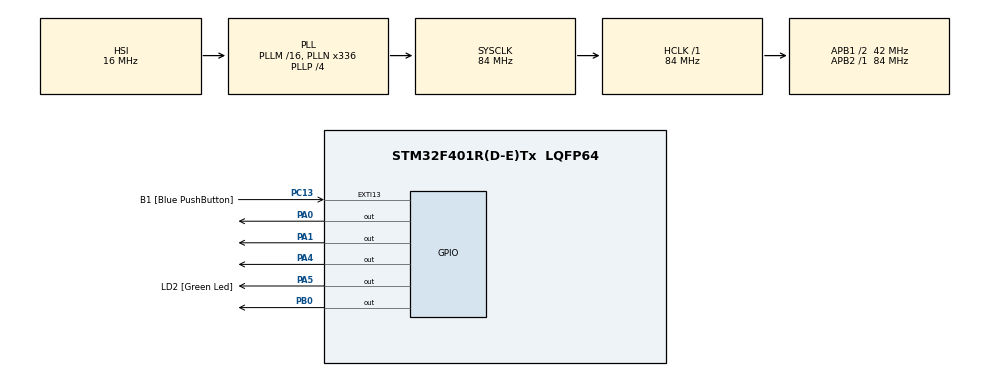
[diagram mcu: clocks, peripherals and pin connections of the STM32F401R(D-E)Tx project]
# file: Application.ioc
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Mcu.Family=STM32F4
Mcu.Name=STM32F401R(D-E)Tx
Mcu.Package=LQFP64
NVIC.EXTI15_10_IRQn=true\:0\:0\:false\:false\:true\:true\:true
NVIC.PriorityGroup=NVIC_PRIORITYGROUP_0
PA0-WKUP.Signal=GPIO_Output
PA1.Signal=GPIO_Output
PA13.GPIO_Label=TMS
PA13.Mode=Serial_Wire
PA13.Signal=SYS_JTMS-SWDIO
PA14.GPIO_Label=TCK
PA14.Mode=Serial_Wire
PA14.Signal=SYS_JTCK-SWCLK
PA4.Signal=GPIO_Output
PA5.GPIO_Label=LD2 [Green Led]
PA5.GPIO_Mode=GPIO_MODE_OUTPUT_PP
PA5.GPIO_PuPd=GPIO_NOPULL
PA5.GPIO_Speed=GPIO_SPEED_FREQ_LOW
PA5.Signal=GPIO_Output
PB0.Signal=GPIO_Output
PB3.GPIO_Label=SWO
PB3.Signal=SYS_JTDO-SWO
PC13-ANTI_TAMP.GPIO_Label=B1 [Blue PushButton]
PC13-ANTI_TAMP.GPIO_ModeDefaultEXTI=GPIO_MODE_IT_FALLING
PC13-ANTI_TAMP.GPIO_PuPd=GPIO_NOPULL
PC13-ANTI_TAMP.Signal=GPXTI13
PC14-OSC32_IN.Mode=LSE-External-Oscillator
PC14-OSC32_IN.Signal=RCC_OSC32_IN
PC15-OSC32_OUT.Mode=LSE-External-Oscillator
PC15-OSC32_OUT.Signal=RCC_OSC32_OUT
PH0\ -\ OSC_IN.Mode=HSE-External-Clock-Source
PH0\ -\ OSC_IN.Signal=RCC_OSC_IN
PH1\ -\ OSC_OUT.Mode=HSE-External-Clock-Source
PH1\ -\ OSC_OUT.Signal=RCC_OSC_OUT
ProjectManager.HeapSize=0x200
ProjectManager.StackSize=0x400
ProjectManager.TargetToolchain=SW4STM32
RCC.48MHZClocksFreq_Value=48000000
RCC.AHBFreq_Value=84000000
RCC.APB1CLKDivider=RCC_HCLK_DIV2
RCC.APB1Freq_Value=42000000
RCC.APB1TimFreq_Value=84000000
RCC.APB2Freq_Value=84000000
RCC.APB2TimFreq_Value=84000000
RCC.CortexFreq_Value=84000000
RCC.HCLKFreq_Value=84000000
RCC.HSE_VALUE=8000000
RCC.HSI_VALUE=16000000
RCC.PLLN=336
RCC.PLLP=RCC_PLLP_DIV4
RCC.PLLQ=7
RCC.SYSCLKFreq_VALUE=84000000
RCC.SYSCLKSource=RCC_SYSCLKSOURCE_PLLCLK
RCC.VCOOutputFreq_Value=336000000
VP_TIM1_VS_ClockSourceINT.Mode=Internal
board=NUCLEO-F401RE

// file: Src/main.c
/* USER CODE BEGIN Header */
/**
  ******************************************************************************
  * @file           : main.c
  * @brief          : Main program body
  ******************************************************************************
  * @attention
  *
  * <h2><center>&copy; Copyright (c) 2021 STMicroelectronics.
  * All rights reserved.</center></h2>
  *
  * This software component is licensed by ST under BSD 3-Clause license,
  * the "License"; You may not use this file except in compliance with the
  * License. You may obtain a copy of the License at:
  *                        opensource.org/licenses/BSD-3-Clause
  *
  ******************************************************************************
  */
/* USER CODE END Header */
#include "main.h"

/* USER CODE BEGIN PD */
#define stepsperrev 4096
/* USER CODE END PD */

TIM_HandleTypeDef htim1;

void SystemClock_Config(void);
static void MX_GPIO_Init(void);
static void MX_TIM1_Init(void);

/* USER CODE BEGIN 0 */

void stepper_set_rpm (int rpm)  // Set rpm--> max 13, min 1,,,  went to 14 rev/min
{
	HAL_Delay(60000*2/stepsperrev/rpm);
}

void stepper_full_drive (int step)
{
	switch (step){

		case 0:
			  HAL_GPIO_WritePin(GPIOA, GPIO_PIN_0, GPIO_PIN_SET);   // IN1
			  HAL_GPIO_WritePin(GPIOA, GPIO_PIN_1, GPIO_PIN_SET);   // IN2
			  HAL_GPIO_WritePin(GPIOA, GPIO_PIN_4, GPIO_PIN_RESET);   // IN3
			  HAL_GPIO_WritePin(GPIOB, GPIO_PIN_0, GPIO_PIN_RESET);   // IN4
			  break;

		case 1:
			  HAL_GPIO_WritePin(GPIOA, GPIO_PIN_0, GPIO_PIN_RESET);   // IN1
			  HAL_GPIO_WritePin(GPIOA, GPIO_PIN_1, GPIO_PIN_SET);   // IN2
			  HAL_GPIO_WritePin(GPIOA, GPIO_PIN_4, GPIO_PIN_SET);   // IN3
			  HAL_GPIO_WritePin(GPIOB, GPIO_PIN_0, GPIO_PIN_RESET);   // IN4
			  break;

		case 2:
			  HAL_GPIO_WritePin(GPIOA, GPIO_PIN_0, GPIO_PIN_RESET);   // IN1
			  HAL_GPIO_WritePin(GPIOA, GPIO_PIN_1, GPIO_PIN_RESET);   // IN2
			  HAL_GPIO_WritePin(GPIOA, GPIO_PIN_4, GPIO_PIN_SET);   // IN3
			  HAL_GPIO_WritePin(GPIOB, GPIO_PIN_0, GPIO_PIN_SET);   // IN4
			  break;

		case 3:
			  HAL_GPIO_WritePin(GPIOA, GPIO_PIN_0, GPIO_PIN_SET);   // IN1
			  HAL_GPIO_WritePin(GPIOA, GPIO_PIN_1, GPIO_PIN_RESET);   // IN2
			  HAL_GPIO_WritePin(GPIOA, GPIO_PIN_4, GPIO_PIN_RESET);   // IN3
			  HAL_GPIO_WritePin(GPIOB, GPIO_PIN_0, GPIO_PIN_SET);   // IN4
			  break;

		}
}

void stepper_step_angle (float angle, int direction, int rpm)
{
	float anglepersequence = 0.703125;  // 360 = 512 sequences
	int numberofsequences = (int) (angle/anglepersequence);

	for (int seq=0; seq<numberofsequences; seq++)
	{
		if (direction == 0)  // for clockwise
		{
			for (int step=4; step>=0; step--)
			{
				stepper_full_drive(step);
				stepper_set_rpm(rpm);
			}

		}

		else if (direction == 1)  // for anti-clockwise
		{
			for (int step=0; step<5; step++)
			{
				stepper_full_drive(step);
				stepper_set_rpm(rpm);
			}
		}
	}
}
/* USER CODE END 0 */

int main(void)
{

  /* MCU Configuration--------------------------------------------------------*/

  /* Reset of all peripherals, Initializes the Flash interface and the Systick. */
  HAL_Init();

  /* Configure the system clock */
  SystemClock_Config();

  /* Initialize all configured peripherals */
  MX_GPIO_Init();
  MX_TIM1_Init();

  /* Infinite loop */
  while (1)
  {
	  stepper_step_angle(360,0,10);
	  stepper_step_angle(360,1,10);

  }
}

void SystemClock_Config(void)
{
  RCC_OscInitTypeDef RCC_OscInitStruct = {0};
  RCC_ClkInitTypeDef RCC_ClkInitStruct = {0};

  /** Configure the main internal regulator output voltage
  */
  __HAL_RCC_PWR_CLK_ENABLE();
  __HAL_PWR_VOLTAGESCALING_CONFIG(PWR_REGULATOR_VOLTAGE_SCALE2);
  /** Initializes the RCC Oscillators according to the specified parameters
  * in the RCC_OscInitTypeDef structure.
  */
  RCC_OscInitStruct.OscillatorType = RCC_OSCILLATORTYPE_HSI;
  RCC_OscInitStruct.HSIState = RCC_HSI_ON;
  RCC_OscInitStruct.HSICalibrationValue = RCC_HSICALIBRATION_DEFAULT;
  RCC_OscInitStruct.PLL.PLLState = RCC_PLL_ON;
  RCC_OscInitStruct.PLL.PLLSource = RCC_PLLSOURCE_HSI;
  RCC_OscInitStruct.PLL.PLLM = 16;
  RCC_OscInitStruct.PLL.PLLN = 336;
  RCC_OscInitStruct.PLL.PLLP = RCC_PLLP_DIV4;
  RCC_OscInitStruct.PLL.PLLQ = 7;
  if (HAL_RCC_OscConfig(&RCC_OscInitStruct) != HAL_OK)
  {
    Error_Handler();
  }
  /** Initializes the CPU, AHB and APB buses clocks
  */
  RCC_ClkInitStruct.ClockType = RCC_CLOCKTYPE_HCLK|RCC_CLOCKTYPE_SYSCLK
                              |RCC_CLOCKTYPE_PCLK1|RCC_CLOCKTYPE_PCLK2;
  RCC_ClkInitStruct.SYSCLKSource = RCC_SYSCLKSOURCE_PLLCLK;
  RCC_ClkInitStruct.AHBCLKDivider = RCC_SYSCLK_DIV1;
  RCC_ClkInitStruct.APB1CLKDivider = RCC_HCLK_DIV2;
  RCC_ClkInitStruct.APB2CLKDivider = RCC_HCLK_DIV1;

  if (HAL_RCC_ClockConfig(&RCC_ClkInitStruct, FLASH_LATENCY_2) != HAL_OK)
  {
    Error_Handler();
  }
}

static void MX_TIM1_Init(void)
{

  TIM_ClockConfigTypeDef sClockSourceConfig = {0};
  TIM_MasterConfigTypeDef sMasterConfig = {0};

  htim1.Instance = TIM1;
  htim1.Init.Prescaler = 0;
  htim1.Init.CounterMode = TIM_COUNTERMODE_UP;
  htim1.Init.Period = 65535;
  htim1.Init.ClockDivision = TIM_CLOCKDIVISION_DIV1;
  htim1.Init.RepetitionCounter = 0;
  htim1.Init.AutoReloadPreload = TIM_AUTORELOAD_PRELOAD_DISABLE;
  if (HAL_TIM_Base_Init(&htim1) != HAL_OK)
  {
    Error_Handler();
  }
  sClockSourceConfig.ClockSource = TIM_CLOCKSOURCE_INTERNAL;
  if (HAL_TIM_ConfigClockSource(&htim1, &sClockSourceConfig) != HAL_OK)
  {
    Error_Handler();
  }
  sMasterConfig.MasterOutputTrigger = TIM_TRGO_RESET;
  sMasterConfig.MasterSlaveMode = TIM_MASTERSLAVEMODE_DISABLE;
  if (HAL_TIMEx_MasterConfigSynchronization(&htim1, &sMasterConfig) != HAL_OK)
  {
    Error_Handler();
  }

}

static void MX_GPIO_Init(void)
{
  GPIO_InitTypeDef GPIO_InitStruct = {0};

  /* GPIO Ports Clock Enable */
  __HAL_RCC_GPIOC_CLK_ENABLE();
  __HAL_RCC_GPIOH_CLK_ENABLE();
  __HAL_RCC_GPIOA_CLK_ENABLE();
  __HAL_RCC_GPIOB_CLK_ENABLE();

  /*Configure GPIO pin Output Level */
  HAL_GPIO_WritePin(GPIOA, GPIO_PIN_0|GPIO_PIN_1|GPIO_PIN_4|LD2_Pin, GPIO_PIN_RESET);

  /*Configure GPIO pin Output Level */
  HAL_GPIO_WritePin(GPIOB, GPIO_PIN_0, GPIO_PIN_RESET);

  /*Configure GPIO pin : B1_Pin */
  GPIO_InitStruct.Pin = B1_Pin;
  GPIO_InitStruct.Mode = GPIO_MODE_IT_FALLING;
  GPIO_InitStruct.Pull = GPIO_NOPULL;
  HAL_GPIO_Init(B1_GPIO_Port, &GPIO_InitStruct);

  /*Configure GPIO pins : PA0 PA1 PA4 LD2_Pin */
  GPIO_InitStruct.Pin = GPIO_PIN_0|GPIO_PIN_1|GPIO_PIN_4|LD2_Pin;
  GPIO_InitStruct.Mode = GPIO_MODE_OUTPUT_PP;
  GPIO_InitStruct.Pull = GPIO_NOPULL;
  GPIO_InitStruct.Speed = GPIO_SPEED_FREQ_LOW;
  HAL_GPIO_Init(GPIOA, &GPIO_InitStruct);

  /*Configure GPIO pin : PB0 */
  GPIO_InitStruct.Pin = GPIO_PIN_0;
  GPIO_InitStruct.Mode = GPIO_MODE_OUTPUT_PP;
  GPIO_InitStruct.Pull = GPIO_NOPULL;
  GPIO_InitStruct.Speed = GPIO_SPEED_FREQ_LOW;
  HAL_GPIO_Init(GPIOB, &GPIO_InitStruct);

  /* EXTI interrupt init*/
  HAL_NVIC_SetPriority(EXTI15_10_IRQn, 0, 0);
  HAL_NVIC_EnableIRQ(EXTI15_10_IRQn);

}

/* USER CODE BEGIN 4 */

void HAL_GPIO_EXTI_Callback(uint16_t GPIO_Pin)
{
	if(GPIO_Pin == GPIO_PIN_13)
		HAL_GPIO_TogglePin(GPIOA, GPIO_PIN_5);
}

/* USER CODE END 4 */

void Error_Handler(void)
{
  __disable_irq();
  while (1)
  {
  }
}

/************************ (C) COPYRIGHT STMicroelectronics *****END OF FILE****/
